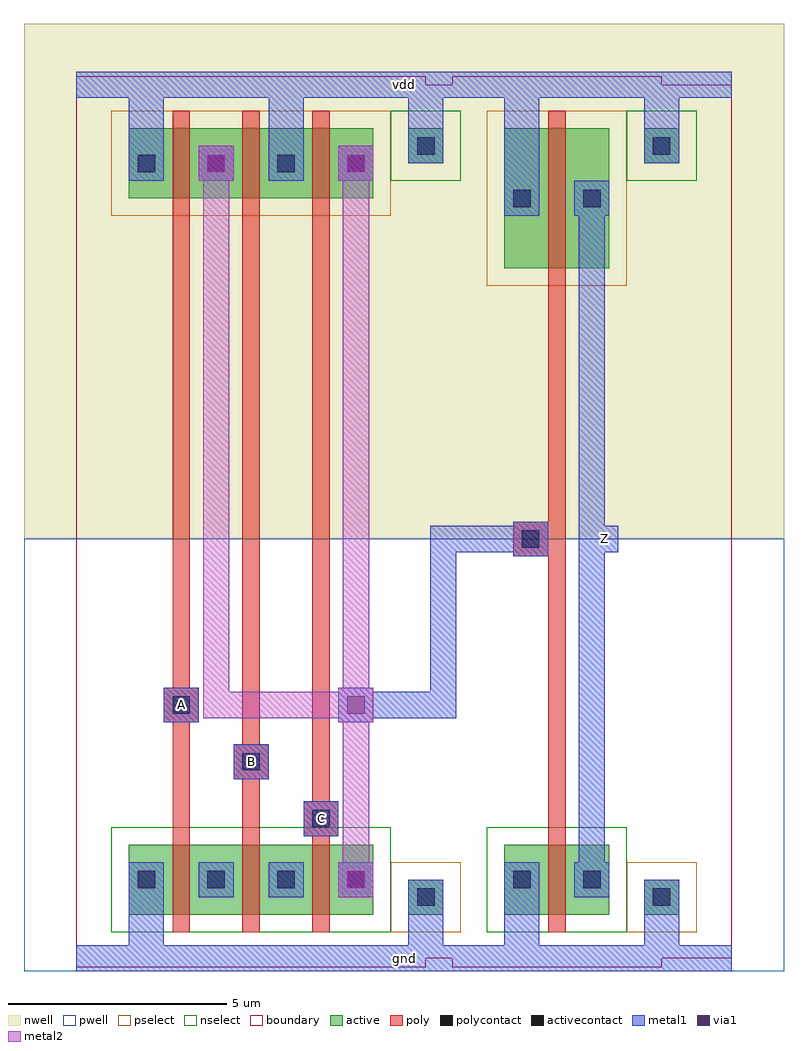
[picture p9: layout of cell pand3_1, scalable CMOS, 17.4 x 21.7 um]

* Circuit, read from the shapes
.subckt pand3_1 A B C Z gnd vdd
M1 pnand3_1_0/nmos_m1_w1_600_a_p_3/D A gnd gnd nfet w=1.6u l=0.4u
M2 pnand3_1_0/nmos_m1_w1_600_a_p_4/D B pnand3_1_0/nmos_m1_w1_600_a_p_3/D gnd nfet w=1.6u l=0.4u
M3 pinv_2_1/A C pnand3_1_0/nmos_m1_w1_600_a_p_4/D gnd nfet w=1.6u l=0.4u
M4 Z pinv_2_1/A gnd gnd nfet w=1.6u l=0.4u
M5 pinv_2_1/A A vdd vdd pfet w=1.6u l=0.4u
M6 vdd B pinv_2_1/A vdd pfet w=1.6u l=0.4u
M7 pinv_2_1/A C vdd vdd pfet w=1.6u l=0.4u
M8 Z pinv_2_1/A vdd vdd pfet w=3.2u l=0.4u
.ends

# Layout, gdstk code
import gdstk
lib = gdstk.Library(unit=1e-6, precision=1e-09)
def R(c, l, rs):  # rectangles x0, y0, x1, y1
    for r in rs: c.add(gdstk.rectangle(r[:2], r[2:], *l))
def A(c, l, x, y, w, h, nx, ny, dx, dy):  # array of equal rectangles
    R(c, l, [(x+i*dx, y+j*dy, x+i*dx+w, y+j*dy+h) for i in range(nx) for j in range(ny)])
pwell = (41, 0)
nwell = (42, 0)
active = (43, 0)
pselect = (44, 0)
nselect = (45, 0)
poly = (46, 0)
polycontact = (47, 0)
activecontact = (48, 0)
metal1 = (49, 0)
via1 = (50, 0)
metal2 = (51, 0)
boundary = (63, 0)

contact_11 = lib.new_cell('contact_11')
R(contact_11, nwell, [(-1.2,-1.2,2,2)])
R(contact_11, active, [(0,0,0.8,0.8)])
R(contact_11, pselect, [(-0.4,-0.4,1.2,1.2)])
R(contact_11, activecontact, [(0.2,0.2,0.6,0.6)])
R(contact_11, metal1, [(0,0,0.8,0.8)])

pmos_m1_w1_600_a_p = lib.new_cell('pmos_m1_w1_600_a_p')
R(pmos_m1_w1_600_a_p, nwell, [(-1.2,-1.2,3.6,2.8)])
R(pmos_m1_w1_600_a_p, active, [(0,0,2.4,1.6)])
R(pmos_m1_w1_600_a_p, pselect, [(-0.4,-0.4,2.8,2)])
R(pmos_m1_w1_600_a_p, poly, [(1,-0.4,1.4,2), (1,-0.4,1.4,2)])
R(pmos_m1_w1_600_a_p, metal1, [(0,0.4,0.8,1.2), (1.6,0.4,2.4,1.2)])
R(pmos_m1_w1_600_a_p, boundary, [(-1.2,-1.2,3.6,2.8)])
pmos_m1_w1_600_a_p.add(gdstk.Reference(contact_11, (0,0.4)))
pmos_m1_w1_600_a_p.add(gdstk.Reference(contact_11, (1.6,0.4)))
pmos_m1_w1_600_a_p.add(gdstk.Label('G', (1.2,0.8), layer=46, texttype=0))
pmos_m1_w1_600_a_p.add(gdstk.Label('S', (0.4,0.8), layer=49, texttype=0))
pmos_m1_w1_600_a_p.add(gdstk.Label('D', (2,0.8), layer=49, texttype=0))

contact_16 = lib.new_cell('contact_16')
R(contact_16, pwell, [(-1.2,-1.2,2,2)])
R(contact_16, active, [(0,0,0.8,0.8)])
R(contact_16, nselect, [(-0.4,-0.4,1.2,1.2)])
R(contact_16, activecontact, [(0.2,0.2,0.6,0.6)])
R(contact_16, metal1, [(0,0,0.8,0.8)])

nmos_m1_w1_600_a_p = lib.new_cell('nmos_m1_w1_600_a_p')
R(nmos_m1_w1_600_a_p, pwell, [(-1.2,-1.2,3.6,2.8)])
R(nmos_m1_w1_600_a_p, active, [(0,0,2.4,1.6)])
R(nmos_m1_w1_600_a_p, nselect, [(-0.4,-0.4,2.8,2)])
R(nmos_m1_w1_600_a_p, poly, [(1,-0.4,1.4,2), (1,-0.4,1.4,2)])
R(nmos_m1_w1_600_a_p, metal1, [(0,0.4,0.8,1.2), (1.6,0.4,2.4,1.2)])
R(nmos_m1_w1_600_a_p, boundary, [(-1.2,-1.2,3.6,2.8)])
nmos_m1_w1_600_a_p.add(gdstk.Reference(contact_16, (0,0.4)))
nmos_m1_w1_600_a_p.add(gdstk.Reference(contact_16, (1.6,0.4)))
nmos_m1_w1_600_a_p.add(gdstk.Label('G', (1.2,0.8), layer=46, texttype=0))
nmos_m1_w1_600_a_p.add(gdstk.Label('S', (0.4,0.8), layer=49, texttype=0))
nmos_m1_w1_600_a_p.add(gdstk.Label('D', (2,0.8), layer=49, texttype=0))

contact_13 = lib.new_cell('contact_13')
R(contact_13, nwell, [(-1.2,-1.2,2,2)])
R(contact_13, active, [(0,0,0.8,0.8)])
R(contact_13, nselect, [(-0.4,-0.4,1.2,1.2)])
R(contact_13, activecontact, [(0.2,0.2,0.6,0.6)])
R(contact_13, metal1, [(0,0,0.8,0.8)])

contact_17 = lib.new_cell('contact_17')
R(contact_17, pwell, [(-1.2,-1.2,2,2)])
R(contact_17, active, [(0,0,0.8,0.8)])
R(contact_17, pselect, [(-0.4,-0.4,1.2,1.2)])
R(contact_17, activecontact, [(0.2,0.2,0.6,0.6)])
R(contact_17, metal1, [(0,0,0.8,0.8)])

contact_12 = lib.new_cell('contact_12')
R(contact_12, poly, [(0,0,0.8,0.8)])
R(contact_12, polycontact, [(0.2,0.2,0.6,0.6)])
R(contact_12, metal1, [(0,0,0.8,0.8)])

contact_14 = lib.new_cell('contact_14')
R(contact_14, metal1, [(0,0,0.8,0.8)])
R(contact_14, via1, [(0.2,0.2,0.6,0.6)])
R(contact_14, metal2, [(0,0,0.8,0.8)])

contact_19 = lib.new_cell('contact_19')
R(contact_19, metal1, [(0,0,0.8,0.8)])
R(contact_19, via1, [(0.2,0.2,0.6,0.6)])
R(contact_19, metal2, [(0,0,0.8,0.8)])

pnand3_1 = lib.new_cell('pnand3_1')
R(pnand3_1, pwell, [(-1.2,-0.3,9.8,9.6)])
R(pnand3_1, nwell, [(-1.2,9.6,9.8,21.4)])
A(pnand3_1, poly, 2.2, 3, 0.4, 14, 3, 1, 1.6, 0)
R(pnand3_1, poly, [(5.4,2.8,5.6,3.6), (3.8,4.1,4,4.9), (2.2,5.4,2.4,6.2)])
R(pnand3_1, metal1, [(0,-0.3,8.6,0.3), (1.2,-0.3,2,1.4), (7.6,0,8.4,1.4), (5.2,2.8,6,3.6), (3.6,4.1,4.4,4.9), (2,5.4,2.8,6.2), (6,5.4,6.8,6.2), (1.2,17.8,2,20.3), (4.4,17.8,5.2,20.3), (7.6,18.6,8.4,20), (0,19.7,8.6,20.3)])
R(pnand3_1, metal2, [(6.1,2.2,6.7,18.2), (6.1,2.2,6.7,5.8), (2.9,5.5,3.5,6.1), (3.2,5.5,6.4,6.1), (6.1,5.5,6.7,6.1), (2.9,5.8,3.5,18.2)])
R(pnand3_1, boundary, [(0,0,8.6,20)])
pnand3_1.add(gdstk.Reference(pmos_m1_w1_600_a_p, (1.2,17.4)))
pnand3_1.add(gdstk.Reference(pmos_m1_w1_600_a_p, (2.8,17.4)))
pnand3_1.add(gdstk.Reference(pmos_m1_w1_600_a_p, (4.4,17.4)))
pnand3_1.add(gdstk.Reference(nmos_m1_w1_600_a_p, (1.2,1)))
pnand3_1.add(gdstk.Reference(nmos_m1_w1_600_a_p, (2.8,1)))
pnand3_1.add(gdstk.Reference(nmos_m1_w1_600_a_p, (4.4,1)))
pnand3_1.add(gdstk.Reference(contact_13, (7.6,18.2)))
pnand3_1.add(gdstk.Reference(contact_17, (7.6,1)))
pnand3_1.add(gdstk.Reference(contact_12, (5.2,2.8)))
pnand3_1.add(gdstk.Reference(contact_12, (3.6,4.1)))
pnand3_1.add(gdstk.Reference(contact_12, (2,5.4)))
pnand3_1.add(gdstk.Reference(contact_14, (2.8,17.8)))
pnand3_1.add(gdstk.Reference(contact_14, (6,17.8)))
pnand3_1.add(gdstk.Reference(contact_14, (6,1.4)))
pnand3_1.add(gdstk.Reference(contact_19, (6,5.4)))
pnand3_1.add(gdstk.Label('gnd', (4.3,0), layer=49, texttype=0))
pnand3_1.add(gdstk.Label('vdd', (4.3,20), layer=49, texttype=0))
pnand3_1.add(gdstk.Label('C', (5.6,3.2), layer=49, texttype=0))
pnand3_1.add(gdstk.Label('B', (4,4.5), layer=49, texttype=0))
pnand3_1.add(gdstk.Label('A', (2.4,5.8), layer=49, texttype=0))
pnand3_1.add(gdstk.Label('Z', (6.4,5.8), layer=49, texttype=0))

pmos_m1_w3_200_a_p = lib.new_cell('pmos_m1_w3_200_a_p')
R(pmos_m1_w3_200_a_p, nwell, [(-1.2,-1.2,3.6,4.4)])
R(pmos_m1_w3_200_a_p, active, [(0,0,2.4,3.2)])
R(pmos_m1_w3_200_a_p, pselect, [(-0.4,-0.4,2.8,3.6)])
R(pmos_m1_w3_200_a_p, poly, [(1,-0.4,1.4,3.6), (1,-0.4,1.4,3.6)])
R(pmos_m1_w3_200_a_p, metal1, [(0,1.2,0.8,2), (1.6,1.2,2.4,2)])
R(pmos_m1_w3_200_a_p, boundary, [(-1.2,-1.2,3.6,4.4)])
pmos_m1_w3_200_a_p.add(gdstk.Reference(contact_11, (0,1.2)))
pmos_m1_w3_200_a_p.add(gdstk.Reference(contact_11, (1.6,1.2)))
pmos_m1_w3_200_a_p.add(gdstk.Label('G', (1.2,1.6), layer=46, texttype=0))
pmos_m1_w3_200_a_p.add(gdstk.Label('S', (0.4,1.6), layer=49, texttype=0))
pmos_m1_w3_200_a_p.add(gdstk.Label('D', (2,1.6), layer=49, texttype=0))

pinv_2 = lib.new_cell('pinv_2')
R(pinv_2, pwell, [(-1.2,-0.3,7.6,9.6)])
R(pinv_2, nwell, [(-1.2,9.6,7.6,21.4)])
R(pinv_2, poly, [(2.2,3,2.6,15.4), (1.8,9.2,2.2,10)])
R(pinv_2, metal1, [(0,-0.3,6.4,0.3), (1.2,-0.3,2,1.4), (4.4,0,5.2,1.4), (2.9,1.4,3.5,17.8), (1.4,9.2,2.2,10), (3.2,9.3,3.8,9.9), (1.2,17,2,20.3), (4.4,18.6,5.2,20), (0,19.7,6.4,20.3)])
R(pinv_2, boundary, [(0,0,6.4,20)])
pinv_2.add(gdstk.Reference(pmos_m1_w3_200_a_p, (1.2,15.8)))
pinv_2.add(gdstk.Reference(nmos_m1_w1_600_a_p, (1.2,1)))
pinv_2.add(gdstk.Reference(contact_13, (4.4,18.2)))
pinv_2.add(gdstk.Reference(contact_17, (4.4,1)))
pinv_2.add(gdstk.Reference(contact_12, (1.4,9.2)))
pinv_2.add(gdstk.Label('gnd', (3.2,0), layer=49, texttype=0))
pinv_2.add(gdstk.Label('vdd', (3.2,20), layer=49, texttype=0))
pinv_2.add(gdstk.Label('A', (1.8,9.6), layer=49, texttype=0))
pinv_2.add(gdstk.Label('Z', (3.5,9.6), layer=49, texttype=0))

pand3_1 = lib.new_cell('pand3_1')
R(pand3_1, metal1, [(0,-0.3,15,0.3), (5.2,2.8,6,3.6), (3.6,4.1,4.4,4.9), (2,5.4,2.8,6.2), (6.4,5.5,8.4,6.1), (8.1,5.5,8.7,6.1), (8.1,5.8,8.7,9.6), (8.1,9.3,8.7,9.9), (8.4,9.3,10.4,9.9), (11.8,9.3,12.4,9.9), (0,19.7,15,20.3)])
R(pand3_1, boundary, [(0,0,15,20)])
pand3_1.add(gdstk.Reference(pnand3_1, (0,0)))
pand3_1.add(gdstk.Reference(pinv_2, (8.6,0)))
pand3_1.add(gdstk.Label('vdd', (7.5,20), layer=49, texttype=0))
pand3_1.add(gdstk.Label('gnd', (7.5,0), layer=49, texttype=0))
pand3_1.add(gdstk.Label('Z', (12.1,9.6), layer=49, texttype=0))
pand3_1.add(gdstk.Label('A', (2.4,5.8), layer=49, texttype=0))
pand3_1.add(gdstk.Label('B', (4,4.5), layer=49, texttype=0))
pand3_1.add(gdstk.Label('C', (5.6,3.2), layer=49, texttype=0))

lib.write_gds('pand3_1.gds')
